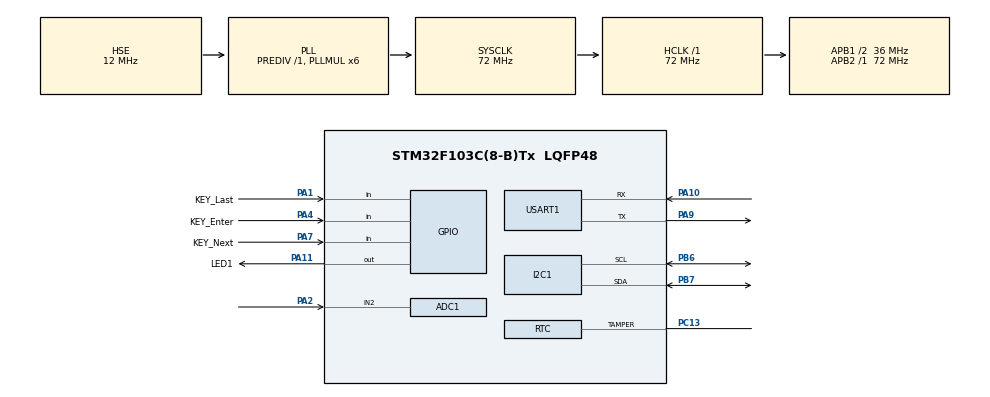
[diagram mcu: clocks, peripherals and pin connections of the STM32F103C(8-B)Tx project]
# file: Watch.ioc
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ADC1.Channel-0\#ChannelRegularConversion=ADC_CHANNEL_2
ADC1.NbrOfConversionFlag=1
ADC1.Rank-0\#ChannelRegularConversion=1
ADC1.SamplingTime-0\#ChannelRegularConversion=ADC_SAMPLETIME_1CYCLE_5
ADC1.master=1
FREERTOS.Tasks01=defaultTask,24,128,StartDefaultTask,Default,NULL,Dynamic,NULL,NULL
Mcu.Family=STM32F1
Mcu.Name=STM32F103C(8-B)Tx
Mcu.Package=LQFP48
NVIC.PriorityGroup=NVIC_PRIORITYGROUP_4
NVIC.TIM2_IRQn=true\:5\:0\:false\:false\:true\:true\:true\:true\:true
NVIC.TIM3_IRQn=true\:5\:0\:false\:false\:true\:true\:true\:true\:true
NVIC.TIM4_IRQn=true\:15\:0\:false\:false\:true\:false\:false\:true\:true
NVIC.TimeBase=TIM4_IRQn
NVIC.TimeBaseIP=TIM4
NVIC.USART1_IRQn=true\:5\:0\:false\:false\:true\:true\:true\:true\:true
PA1.GPIO_Label=KEY_Last
PA1.Signal=GPIO_Input
PA10.Mode=Asynchronous
PA10.Signal=USART1_RX
PA11.GPIO_Label=LED1
PA11.GPIO_Speed=GPIO_SPEED_FREQ_HIGH
PA11.PinState=GPIO_PIN_SET
PA11.Signal=GPIO_Output
PA13.Mode=Serial_Wire
PA13.Signal=SYS_JTMS-SWDIO
PA14.Mode=Serial_Wire
PA14.Signal=SYS_JTCK-SWCLK
PA2.Signal=ADCx_IN2
PA4.GPIO_Label=KEY_Enter
PA4.Signal=GPIO_Input
PA7.GPIO_Label=KEY_Next
PA7.Signal=GPIO_Input
PA9.Mode=Asynchronous
PA9.Signal=USART1_TX
PB6.Mode=I2C
PB6.Signal=I2C1_SCL
PB7.Mode=I2C
PB7.Signal=I2C1_SDA
PC13-TAMPER-RTC.Mode=Tamper
PC13-TAMPER-RTC.Signal=RTC_TAMPER
PD0-OSC_IN.Mode=HSE-External-Oscillator
PD0-OSC_IN.Signal=RCC_OSC_IN
PD1-OSC_OUT.Mode=HSE-External-Oscillator
PD1-OSC_OUT.Signal=RCC_OSC_OUT
ProjectManager.HeapSize=0x200
ProjectManager.StackSize=0x400
ProjectManager.TargetToolchain=CMake
RCC.ADCPresc=RCC_ADCPCLK2_DIV6
RCC.AHBFreq_Value=72000000
RCC.APB1CLKDivider=RCC_HCLK_DIV2
RCC.APB1Freq_Value=36000000
RCC.APB1TimFreq_Value=72000000
RCC.APB2Freq_Value=72000000
RCC.APB2TimFreq_Value=72000000
RCC.HCLKFreq_Value=72000000
RCC.HSE_VALUE=12000000
RCC.PLLMUL=RCC_PLL_MUL6
RCC.PLLSourceVirtual=RCC_PLLSOURCE_HSE
RCC.SYSCLKFreq_VALUE=72000000
RCC.SYSCLKSource=RCC_SYSCLKSOURCE_PLLCLK
RCC.USBFreq_Value=72000000
RTC.Format=RTC_FORMAT_BIN
SH.ADCx_IN2.0=ADC1_IN2,IN2
TIM2.Prescaler=100-1
TIM3.Prescaler=7200-1
USART1.VirtualMode=VM_ASYNC
VP_FREERTOS_VS_CMSIS_V2.Mode=CMSIS_V2
VP_RTC_VS_RTC_Activate.Mode=RTC_Enabled
VP_RTC_VS_RTC_Calendar.Mode=RTC_Calendar
VP_SYS_VS_tim4.Mode=TIM4
VP_TIM2_VS_ClockSourceINT.Mode=Internal
VP_TIM3_VS_ClockSourceINT.Mode=Internal
board=custom

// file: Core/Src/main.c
/* USER CODE BEGIN Header */
/**
  ******************************************************************************
  * @file           : main.c
  * @brief          : Main program body
  ******************************************************************************
  * @attention
  *
  * Copyright (c) 2026 STMicroelectronics.
  * All rights reserved.
  *
  * This software is licensed under terms that can be found in the LICENSE file
  * in the root directory of this software component.
  * If no LICENSE file comes with this software, it is provided AS-IS.
  *
  ******************************************************************************
  */
/* USER CODE END Header */
#include "main.h"
#include "cmsis_os.h"
#include "adc.h"
#include "i2c.h"
#include "rtc.h"
#include "tim.h"
#include "usart.h"
#include "gpio.h"

/* USER CODE BEGIN Includes */
#include "FreeRTOS.h"
#include "task.h"
#include "FreeRTOS_demo.h"
#include "OLED.h"
#include "menu.h"
#include "key.h"
#include "SetTime.h"
#include "MPU6050.h"
#include "dino.h"
/* USER CODE END Includes */

void SystemClock_Config(void);
void MX_FREERTOS_Init(void);

int main(void)
{

  /* MCU Configuration--------------------------------------------------------*/

  /* Reset of all peripherals, Initializes the Flash interface and the Systick. */
  HAL_Init();

  /* Configure the system clock */
  SystemClock_Config();

  /* Initialize all configured peripherals */
  MX_GPIO_Init();
  MX_I2C1_Init();
  MX_USART1_UART_Init();
  MX_ADC1_Init();
  MX_RTC_Init();
  MX_TIM2_Init();
  MX_TIM3_Init();
  /* USER CODE BEGIN 2 */
  HAL_TIM_Base_Start_IT(&htim2);
  OLED_Init();
  OLED_Clear();
  MPU6050_Init();
  HAL_ADCEx_Calibration_Start(&hadc1); // ADC校准
  FreeRTOS_Start();
  /* USER CODE END 2 */

  /* Init scheduler */
  // osKernelInitialize();  /* Call init function for freertos objects (in cmsis_os2.c) */
  // MX_FREERTOS_Init();

  /* Start scheduler */
  // osKernelStart();

  /* We should never get here as control is now taken by the scheduler */

  /* Infinite loop */
  while (1)
  {

  }
}

void SystemClock_Config(void)
{
  RCC_OscInitTypeDef RCC_OscInitStruct = {0};
  RCC_ClkInitTypeDef RCC_ClkInitStruct = {0};
  RCC_PeriphCLKInitTypeDef PeriphClkInit = {0};

  /** Initializes the RCC Oscillators according to the specified parameters
  * in the RCC_OscInitTypeDef structure.
  */
  RCC_OscInitStruct.OscillatorType = RCC_OSCILLATORTYPE_LSI|RCC_OSCILLATORTYPE_HSE;
  RCC_OscInitStruct.HSEState = RCC_HSE_ON;
  RCC_OscInitStruct.HSEPredivValue = RCC_HSE_PREDIV_DIV1;
  RCC_OscInitStruct.HSIState = RCC_HSI_ON;
  RCC_OscInitStruct.LSIState = RCC_LSI_ON;
  RCC_OscInitStruct.PLL.PLLState = RCC_PLL_ON;
  RCC_OscInitStruct.PLL.PLLSource = RCC_PLLSOURCE_HSE;
  RCC_OscInitStruct.PLL.PLLMUL = RCC_PLL_MUL6;
  if (HAL_RCC_OscConfig(&RCC_OscInitStruct) != HAL_OK)
  {
    Error_Handler();
  }

  /** Initializes the CPU, AHB and APB buses clocks
  */
  RCC_ClkInitStruct.ClockType = RCC_CLOCKTYPE_HCLK|RCC_CLOCKTYPE_SYSCLK
                              |RCC_CLOCKTYPE_PCLK1|RCC_CLOCKTYPE_PCLK2;
  RCC_ClkInitStruct.SYSCLKSource = RCC_SYSCLKSOURCE_PLLCLK;
  RCC_ClkInitStruct.AHBCLKDivider = RCC_SYSCLK_DIV1;
  RCC_ClkInitStruct.APB1CLKDivider = RCC_HCLK_DIV2;
  RCC_ClkInitStruct.APB2CLKDivider = RCC_HCLK_DIV1;

  if (HAL_RCC_ClockConfig(&RCC_ClkInitStruct, FLASH_LATENCY_2) != HAL_OK)
  {
    Error_Handler();
  }
  PeriphClkInit.PeriphClockSelection = RCC_PERIPHCLK_RTC|RCC_PERIPHCLK_ADC;
  PeriphClkInit.RTCClockSelection = RCC_RTCCLKSOURCE_LSI;
  PeriphClkInit.AdcClockSelection = RCC_ADCPCLK2_DIV6;
  if (HAL_RCCEx_PeriphCLKConfig(&PeriphClkInit) != HAL_OK)
  {
    Error_Handler();
  }
}

void HAL_TIM_PeriodElapsedCallback(TIM_HandleTypeDef *htim)
{
  if (htim->Instance == TIM4)
  {
    HAL_IncTick();
  }
}

void Error_Handler(void)
{
  __disable_irq();
  while (1)
  {
  }
}
